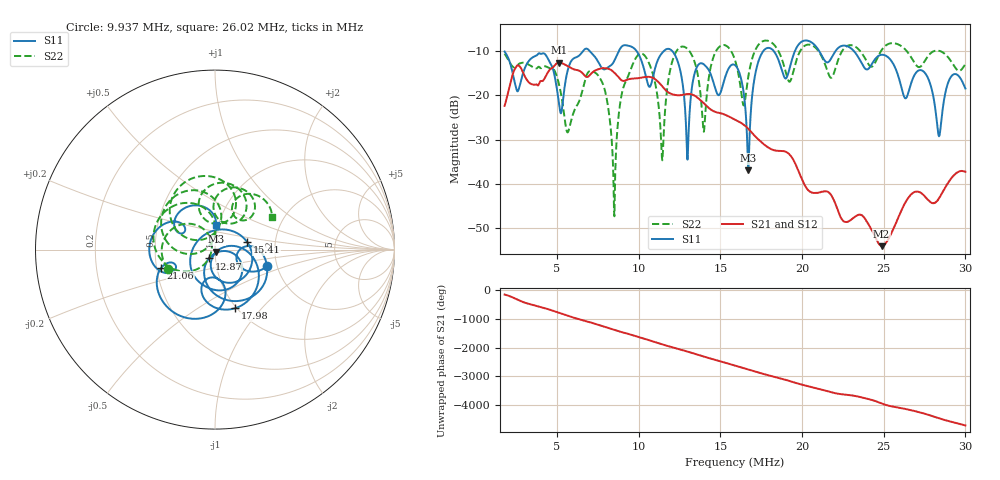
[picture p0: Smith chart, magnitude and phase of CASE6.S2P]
!Agilent Technologies,E5061B,MY49101568,A.02.00
!Date: Wed Mar 01 14:58:44 2023
!Data & Calibration Information:
!Freq	S11:SOLT2(OFF)	S21:SOLT2(OFF)	S12:SOLT2(OFF)	S22:SOLT2(OFF)
# Hz S dB R 50
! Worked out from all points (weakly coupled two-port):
!   1155 points, 1.8 MHz to 30 MHz, reference 50 ohm
!   highest |S21| = -12.56 dB at 5.123 MHz (marker M1); lowest = -54.1 dB at 24.87 MHz (marker M2)
!   lowest |S11| = -36.9 dB at 16.71 MHz (marker M3), VSWR 1.03, Z = 50.7 - j1.23 ohm
!   |S11| at or under -10 dB: start of sweep to 6.588 MHz; 12.07 MHz to 17.62 MHz (5.555 MHz wide, 37.4 % of centre); 23.18 MHz to end of sweep (the widest 3 of 7)
!   |S22| runs from -47.3 to -7.6 dB; largest |S21 - S12| = 0.0031
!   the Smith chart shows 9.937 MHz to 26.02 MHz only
!   S11 on the Smith chart (normalised r, x): 9.937 MHz: 1.78, -0.36; 12.87 MHz: 0.93, -0.09; 15.41 MHz: 1.43, +0.12; 17.98 MHz: 0.98, -0.73; 21.06 MHz: 0.53, -0.12; 26.02 MHz: 0.97, +0.27
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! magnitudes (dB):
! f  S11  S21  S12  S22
! 1.8 MHz  -10.1  -22.4  -22.4  -10.5
! 5.123 MHz  -21.7  -12.6  -12.5  -17.4
! 5.661 MHz  -14.3  -13.4  -13.4  -28.4
! 6.516 MHz  -10.3  -14.8  -14.7  -19.5
! 7.787 MHz  -13.9  -13.8  -13.8  -17.2
! 8.52 MHz  -12.1  -14.9  -14.8  -47.3
! 9.937 MHz  -10.3  -16.1  -16.1  -11.0
! 11.21 MHz  -11.7  -17.0  -17.0  -21.8
! 11.45 MHz  -10.3  -17.9  -18.0  -34.7
! 12.87 MHz  -24.5  -19.7  -19.8  -9.1
! 13.99 MHz  -13.0  -21.8  -21.8  -28.2
! 15.41 MHz  -14.7  -24.6  -24.6  -8.9
! 15.9 MHz  -13.1  -25.5  -25.5  -12.0
! 16.71 MHz  -36.9  -27.5  -27.5  -15.9
! 17.98 MHz  -9.2  -31.9  -32.0  -7.7
! 20.62 MHz  -8.1  -42.0  -41.9  -8.7
! 21.06 MHz  -10.0  -41.9  -41.9  -10.2
! 24.87 MHz  -10.8  -54.1  -54.1  -9.8
! 25.31 MHz  -11.5  -52.4  -52.3  -8.3
! 26.02 MHz  -17.2  -46.6  -46.5  -8.7
! 28.39 MHz  -29.2  -43.2  -43.2  -9.9
! 30 MHz  -18.4  -37.3  -37.2  -12.9
